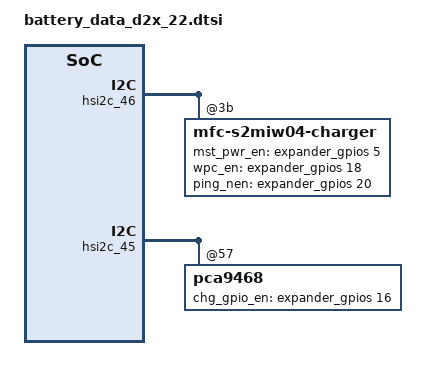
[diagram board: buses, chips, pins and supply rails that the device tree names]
/*
 * SAMSUNG UNIVERSAL9820 board device tree source
 *
 * Copyright (c) 2018 Samsung Electronics Co., Ltd.
 *		http://www.samsung.com
 *
 * This program is free software; you can redistribute it and/or modify
 * it under the terms of the GNU General Public License version 2 as
 * published by the Free Software Foundation.
 */

#include "battery_data_d2x_common.dtsi"
#include "battery_rx_data_lsi.dtsi"

/ {
	fragment@battery {
		target-path = "/";
		__overlay__ {
				battery {
					battery,wpc_en = <&expander_gpios 18 0>;
					battery,mst_pwr_en = <&expander_gpios 5 0>;
				};
		}; /* end of __overlay__ */
	}; /* end of fragment */
};

&pinctrl_0 {
	 vrect_int: vrect-int {
		 samsung,pins = "gpa3-2";
		 samsung,pin-function = <0xf>;
		 samsung,pin-pud = <0>;
		 samsung,pin-drv = <0>;
	 };

	 pdet_b: pdet-b {
		 samsung,pins = "gpa2-1";
		 samsung,pin-function = <0xf>;
		 samsung,pin-pud = <0>;
		 samsung,pin-drv = <0>;
	 };
};

&hsi2c_46 {
	mfc-s2miw04-charger@3b {
		pinctrl-0 = <&wpc_int &wpc_det &pdet_b &vrect_int>;
	
		battery,mst_pwr_en = <&expander_gpios 5 0>;
		battery,wpc_en = <&expander_gpios 18 0>;
		battery,ping_nen = <&expander_gpios 20 0>;
		battery,vrect_int = <&gpa3 2 0>;
	};
};

&hsi2c_45 {
	pca9468@57 {
		pca9468,chg_gpio_en = <&expander_gpios 16 0>;
	};
};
